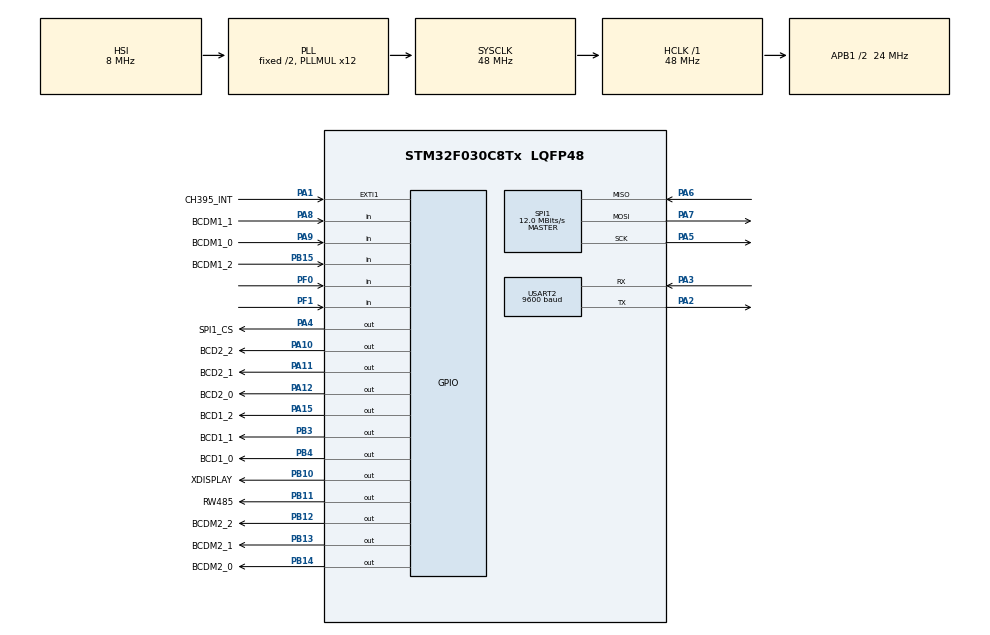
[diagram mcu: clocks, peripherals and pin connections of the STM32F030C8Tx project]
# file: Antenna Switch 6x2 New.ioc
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Dma.Request0=USART2_RX
Dma.Request1=USART2_TX
Dma.USART2_RX.0.Direction=DMA_PERIPH_TO_MEMORY
Dma.USART2_RX.0.Instance=DMA1_Channel5
Dma.USART2_RX.0.MemDataAlignment=DMA_MDATAALIGN_BYTE
Dma.USART2_RX.0.MemInc=DMA_MINC_ENABLE
Dma.USART2_RX.0.Mode=DMA_NORMAL
Dma.USART2_RX.0.PeriphDataAlignment=DMA_PDATAALIGN_BYTE
Dma.USART2_RX.0.PeriphInc=DMA_PINC_DISABLE
Dma.USART2_RX.0.Priority=DMA_PRIORITY_MEDIUM
Dma.USART2_TX.1.Direction=DMA_MEMORY_TO_PERIPH
Dma.USART2_TX.1.Instance=DMA1_Channel4
Dma.USART2_TX.1.MemDataAlignment=DMA_MDATAALIGN_BYTE
Dma.USART2_TX.1.MemInc=DMA_MINC_ENABLE
Dma.USART2_TX.1.Mode=DMA_NORMAL
Dma.USART2_TX.1.PeriphDataAlignment=DMA_PDATAALIGN_BYTE
Dma.USART2_TX.1.PeriphInc=DMA_PINC_DISABLE
Dma.USART2_TX.1.Priority=DMA_PRIORITY_LOW
IWDG.Prescaler=IWDG_PRESCALER_256
IWDG.Reload=2048
IWDG.Window=2048
Mcu.Family=STM32F0
Mcu.Name=STM32F030C8Tx
Mcu.Package=LQFP48
NVIC.DMA1_Channel4_5_IRQn=true\:1\:0\:true\:false\:true\:false\:true\:true
NVIC.SPI1_IRQn=true\:0\:0\:false\:false\:true\:true\:true\:true
NVIC.TIM6_IRQn=true\:0\:0\:false\:false\:true\:true\:true\:true
NVIC.USART2_IRQn=true\:1\:0\:true\:false\:true\:true\:true\:true
PA1.GPIO_Label=CH395_INT
PA1.GPIO_ModeDefaultEXTI=GPIO_MODE_IT_FALLING
PA1.GPIO_PuPd=GPIO_PULLUP
PA1.Signal=GPXTI1
PA10.GPIO_Label=BCD2_2
PA10.GPIO_ModeDefaultOutputPP=GPIO_MODE_OUTPUT_OD
PA10.GPIO_PuPd=GPIO_PULLUP
PA10.PinState=GPIO_PIN_SET
PA10.Signal=GPIO_Output
PA11.GPIO_Label=BCD2_1
PA11.GPIO_ModeDefaultOutputPP=GPIO_MODE_OUTPUT_OD
PA11.GPIO_PuPd=GPIO_PULLUP
PA11.PinState=GPIO_PIN_SET
PA11.Signal=GPIO_Output
PA12.GPIO_Label=BCD2_0
PA12.GPIO_ModeDefaultOutputPP=GPIO_MODE_OUTPUT_OD
PA12.GPIO_PuPd=GPIO_PULLUP
PA12.PinState=GPIO_PIN_SET
PA12.Signal=GPIO_Output
PA13.Mode=Serial_Wire
PA13.Signal=SYS_SWDIO
PA14.Mode=Serial_Wire
PA14.Signal=SYS_SWCLK
PA15.GPIO_Label=BCD1_2
PA15.GPIO_ModeDefaultOutputPP=GPIO_MODE_OUTPUT_OD
PA15.GPIO_PuPd=GPIO_PULLUP
PA15.PinState=GPIO_PIN_SET
PA15.Signal=GPIO_Output
PA2.GPIO_PuPd=GPIO_PULLUP
PA2.Mode=Asynchronous
PA2.Signal=USART2_TX
PA3.GPIO_PuPd=GPIO_PULLUP
PA3.Mode=Asynchronous
PA3.Signal=USART2_RX
PA4.GPIO_Label=SPI1_CS
PA4.GPIO_ModeDefaultOutputPP=GPIO_MODE_OUTPUT_OD
PA4.GPIO_PuPd=GPIO_PULLUP
PA4.PinState=GPIO_PIN_SET
PA4.Signal=GPIO_Output
PA5.GPIO_PuPd=GPIO_PULLUP
PA5.Mode=Full_Duplex_Master
PA5.Signal=SPI1_SCK
PA6.GPIO_PuPd=GPIO_PULLUP
PA6.Mode=Full_Duplex_Master
PA6.Signal=SPI1_MISO
PA7.GPIO_PuPd=GPIO_PULLUP
PA7.Mode=Full_Duplex_Master
PA7.Signal=SPI1_MOSI
PA8.GPIO_Label=BCDM1_1
PA8.GPIO_PuPd=GPIO_PULLUP
PA8.Signal=GPIO_Input
PA9.GPIO_Label=BCDM1_0
PA9.GPIO_PuPd=GPIO_PULLUP
PA9.Signal=GPIO_Input
PB10.GPIO_Label=XDISPLAY
PB10.GPIO_ModeDefaultOutputPP=GPIO_MODE_OUTPUT_OD
PB10.GPIO_PuPd=GPIO_PULLUP
PB10.PinState=GPIO_PIN_SET
PB10.Signal=GPIO_Output
PB11.GPIO_Label=RW485
PB11.GPIO_ModeDefaultOutputPP=GPIO_MODE_OUTPUT_PP
PB11.GPIO_PuPd=GPIO_NOPULL
PB11.PinState=GPIO_PIN_RESET
PB11.Signal=GPIO_Output
PB12.GPIO_Label=BCDM2_2
PB12.GPIO_ModeDefaultOutputPP=GPIO_MODE_OUTPUT_OD
PB12.GPIO_PuPd=GPIO_PULLUP
PB12.PinState=GPIO_PIN_SET
PB12.Signal=GPIO_Output
PB13.GPIO_Label=BCDM2_1
PB13.GPIO_ModeDefaultOutputPP=GPIO_MODE_OUTPUT_OD
PB13.GPIO_PuPd=GPIO_PULLUP
PB13.PinState=GPIO_PIN_SET
PB13.Signal=GPIO_Output
PB14.GPIO_Label=BCDM2_0
PB14.GPIO_ModeDefaultOutputPP=GPIO_MODE_OUTPUT_OD
PB14.GPIO_PuPd=GPIO_PULLUP
PB14.PinState=GPIO_PIN_SET
PB14.Signal=GPIO_Output
PB15.GPIO_Label=BCDM1_2
PB15.GPIO_PuPd=GPIO_PULLUP
PB15.Signal=GPIO_Input
PB3.GPIO_Label=BCD1_1
PB3.GPIO_ModeDefaultOutputPP=GPIO_MODE_OUTPUT_OD
PB3.GPIO_PuPd=GPIO_PULLUP
PB3.PinState=GPIO_PIN_SET
PB3.Signal=GPIO_Output
PB4.GPIO_Label=BCD1_0
PB4.GPIO_ModeDefaultOutputPP=GPIO_MODE_OUTPUT_OD
PB4.GPIO_PuPd=GPIO_PULLUP
PB4.PinState=GPIO_PIN_SET
PB4.Signal=GPIO_Output
PF0-OSC_IN.Signal=GPIO_Input
PF1-OSC_OUT.Signal=GPIO_Input
ProjectManager.HeapSize=0x0
ProjectManager.StackSize=0x400
ProjectManager.TargetToolchain=STM32CubeIDE
RCC.AHBFreq_Value=48000000
RCC.APB1CLKDivider=RCC_HCLK_DIV2
RCC.APB1Freq_Value=24000000
RCC.APB1TimFreq_Value=48000000
RCC.HCLKFreq_Value=48000000
RCC.PLLMUL=RCC_PLL_MUL12
RCC.SYSCLKFreq_VALUE=48000000
RCC.SYSCLKSource=RCC_SYSCLKSOURCE_PLLCLK
RCC.TimSys_Div=SYSTICK_CLKSOURCE_HCLK_DIV8
SPI1.BaudRatePrescaler=SPI_BAUDRATEPRESCALER_2
SPI1.CLKPhase=SPI_PHASE_2EDGE
SPI1.CLKPolarity=SPI_POLARITY_HIGH
SPI1.CalculateBaudRate=12.0 MBits/s
SPI1.DataSize=SPI_DATASIZE_8BIT
SPI1.Direction=SPI_DIRECTION_2LINES
SPI1.Mode=SPI_MODE_MASTER
SPI1.VirtualType=VM_MASTER
TIM6.AutoReloadPreload=TIM_AUTORELOAD_PRELOAD_ENABLE
TIM6.Period=1000
TIM6.Prescaler=16000
USART2.BaudRate=9600
USART2.VirtualMode-Asynchronous=VM_ASYNC
VP_IWDG_VS_IWDG.Mode=IWDG_Activate
VP_TIM6_VS_ClockSourceINT.Mode=Enable_Timer
board=custom

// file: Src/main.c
/* USER CODE BEGIN Header */
/**
 ******************************************************************************
 * @file           : main.c
 * @brief          : Main program body
 ******************************************************************************
 * @attention
 *
 * <h2><center>&copy; Copyright (c) 2019 STMicroelectronics.
 * All rights reserved.</center></h2>
 *
 * This software component is licensed by ST under BSD 3-Clause license,
 * the "License"; You may not use this file except in compliance with the
 * License. You may obtain a copy of the License at:
 *                        opensource.org/licenses/BSD-3-Clause
 *
 ******************************************************************************
 */
/* USER CODE END Header */
#include "main.h"

/* USER CODE BEGIN Includes */
#include <string.h>
#include <stdbool.h>
#include "Config/Config.h"
#include "CH395.h"
#include "Lib485.h"
#include "Delay.h"
#include "Flash_EEPROM/Flash_EEPROM.h"
#include "FS.h"
#include "commands.h"
#include "SerialOverTCP.h"
/* USER CODE END Includes */

/* USER CODE BEGIN PD */
#define MIN(x,y) ((x < y)?(x):(y))
#define RX_FIFO_SIZE_485 512U
static uint8_t rx_fifo_buf_485[RX_FIFO_SIZE_485];
/* USER CODE END PD */

IWDG_HandleTypeDef hiwdg;

SPI_HandleTypeDef hspi1;

TIM_HandleTypeDef htim6;

UART_HandleTypeDef huart2;
DMA_HandleTypeDef hdma_usart2_rx;
DMA_HandleTypeDef hdma_usart2_tx;

/* USER CODE BEGIN PV */
// PINS
const PIN_typedef BCD1_0 =
{ BCD1_0_GPIO_Port, BCD1_0_Pin };
const PIN_typedef BCD1_1 =
{ BCD1_1_GPIO_Port, BCD1_1_Pin };
const PIN_typedef BCD1_2 =
{ BCD1_2_GPIO_Port, BCD1_2_Pin };
const PIN_typedef BCD2_0 =
{ BCD2_0_GPIO_Port, BCD2_0_Pin };
const PIN_typedef BCD2_1 =
{ BCD2_1_GPIO_Port, BCD2_1_Pin };
const PIN_typedef BCD2_2 =
{ BCD2_2_GPIO_Port, BCD2_2_Pin };
const PIN_typedef BCDM1_0 =
{ BCDM1_0_GPIO_Port, BCDM1_0_Pin };
const PIN_typedef BCDM1_1 =
{ BCDM1_1_GPIO_Port, BCDM1_1_Pin };
const PIN_typedef BCDM1_2 =
{ BCDM1_2_GPIO_Port, BCDM1_2_Pin };
const PIN_typedef BCDM2_0 =
{ BCDM2_0_GPIO_Port, BCDM2_0_Pin };
const PIN_typedef BCDM2_1 =
{ BCDM2_1_GPIO_Port, BCDM2_1_Pin };
const PIN_typedef BCDM2_2 =
{ BCDM2_2_GPIO_Port, BCDM2_2_Pin };
const PIN_typedef RW485 =
{ RW485_GPIO_Port, RW485_Pin };

// for remote switching
AntennaSelector_typedef Selector[N_SELECTORS];
// for monitoring
AntennaSelector_typedef SelectorM[N_SELECTORS];
// Saved data on EEPROM

uint8_t IP[4] =
{ 0, 0, 0, 0 };
char sIP_dec[16] =
{ 0 };

uint8_t IP_gateway[4] = {0,0,0,0};
uint8_t IP_mask[4] = {255,255,255,0};
uint8_t MAC[6] = {0,0,0,0,0,0};

// flags
volatile BOOL flag_PHY_reconn = false;
volatile BOOL flag_IP_conflict = false;
volatile BOOL flag_CH395_ready = false;
volatile BOOL flag_CH395_DHCP_ready = false;
const char HTTP_STR_HELLO[] = "Hello\r\n";
// web config
char ant_labels[MAX_LEN_ANT_LABELS] =
{ 0 }; // antenna labels
//extern const uint8_t FS_test_buffer[];
bool isShowingIP = false;
static int8_t idxDisplayIP = -1;
static uint8_t lenDisplayIP = 0;
// broad case updates to all clients when antenna switched
bool needUpdate = false;
// updatedFlag for each socket
uint16_t needUpdateFlagForEachSocket = 0;

/* USER CODE END PV */

void SystemClock_Config(void);
static void MX_GPIO_Init(void);
static void MX_DMA_Init(void);
static void MX_SPI1_Init(void);
static void MX_USART2_UART_Init(void);
static void MX_IWDG_Init(void);
static void MX_TIM6_Init(void);
/* USER CODE BEGIN PFP */
BOOL parse_tcp_uart_command(char *s, size_t len);
/* USER CODE END PFP */

/* USER CODE BEGIN 0 */
const Serial485_cfg_t cfg485 ={
		.pSerial = &huart2,
		.pin_RW = { RW485_GPIO_Port, RW485_Pin },
		.fifo_size = RX_FIFO_SIZE_485,
		.rx_fifo_buf = rx_fifo_buf_485,
};
/* USER CODE END 0 */

int main(void)
{

  /* USER CODE BEGIN 1 */
	uint8_t i;
	Selector[0].PIN_BCDs[0] = BCD1_0;
	Selector[0].PIN_BCDs[1] = BCD1_1;
	Selector[0].PIN_BCDs[2] = BCD1_2;
	Selector[0].sel = 0;
	Selector[1].PIN_BCDs[0] = BCD2_0;
	Selector[1].PIN_BCDs[1] = BCD2_1;
	Selector[1].PIN_BCDs[2] = BCD2_2;
	Selector[1].sel = 0;

	SelectorM[0].PIN_BCDs[0] = BCDM1_0;
	SelectorM[0].PIN_BCDs[1] = BCDM1_1;
	SelectorM[0].PIN_BCDs[2] = BCDM1_2;
	SelectorM[0].sel = 0;
	SelectorM[1].PIN_BCDs[0] = BCDM2_0;
	SelectorM[1].PIN_BCDs[1] = BCDM2_1;
	SelectorM[1].PIN_BCDs[2] = BCDM2_2;
	SelectorM[1].sel = 0;
  /* USER CODE END 1 */

  /* MCU Configuration--------------------------------------------------------*/

  /* Reset of all peripherals, Initializes the Flash interface and the Systick. */
  HAL_Init();

  /* Configure the system clock */
  SystemClock_Config();

  /* Initialize all configured peripherals */
  MX_GPIO_Init();
  MX_DMA_Init();
  MX_SPI1_Init();
  MX_USART2_UART_Init();
  MX_IWDG_Init();
  MX_TIM6_Init();
  /* USER CODE BEGIN 2 */

	// Check EEPROM
	 EEPROM.base_addr = (uint32_t*)EEPROM_BASE_ADDR;
	 EEPROM.size = 400;

	/* init: config */
	load_config(&cfg);
	if (!config_check_valid(&cfg))
	{
		// invalid config data, erase the flash page
		uint32_t PageError = 0;
		__disable_irq();
		HAL_FLASH_Unlock();
		FLASH_EraseInitTypeDef fe = {.TypeErase=FLASH_TYPEERASE_PAGES, .PageAddress=(uint32_t)EEPROM.base_addr, .NbPages=1};
		HAL_FLASHEx_Erase(&fe, &PageError);
		HAL_FLASH_Lock();
		__enable_irq();
		init_config(&cfg);
	}

	/* init: antenna selections */
	uint8_t antnums[N_SELECTORS];
	for (i = 0; i < N_SELECTORS; ++i)
	{
		antnums[i] = cfg.nRadioToAntNums[i];
	}
	switch_Antenna(antnums, N_SELECTORS);

	// init 485
	begin_serial485(p485, &cfg485);
	#ifdef DEBUG
//	  test_485_blockmode(p485);
	#endif
    start_receive_DMA(p485);

	/* init: File System for webpages*/
	FS_begin(&FS, (uint32_t*) FS_BASE_ADDR);
//	i = FS_exists(&FS, "/index.html");
//	i = FS_exists(&FS, "/b.f");

#ifndef DEBUG
	HAL_IWDG_Refresh(&hiwdg); // feed dog
#endif

	/* init: Ethernet chip */
	HAL_Delay(200); // wait for CH395 being ready from power on
	for (i = 5; i < 0xff; ++i)
	{
		if (CH395CMDCheckExist(i) != (uint8_t) ~i)
		{
			DEBUG_LOG("CH395 self check error!\n");
			HAL_Delay(50);
		}
		else
			break;
	}

	RESET_CH395: reset_CH395();
  /* USER CODE END 2 */

  /* Infinite loop */
  /* USER CODE BEGIN WHILE */
	static uint32_t lastWakeupTime;
	static uint32_t lastCH395Process = 0;  // Rate limiting for CH395 interrupts
	// WebSocket frame buffers - moved here for proper scope
	static uint8_t websocket_frame_shared_buffer[128];
	static uint8_t websocket_frame_shared_buffer_2[128];
	lastWakeupTime = HAL_GetTick();
	while (1)
	{

#ifndef DEBUG
		HAL_IWDG_Refresh(&hiwdg); // feed dog
#endif
		/* TASK0: handle CH395 interrupt flags */
		{
			// CASE1: PHY disconnected, need to reconnect, use up the reconn flag to avoid reentrance
			if (flag_PHY_reconn && !flag_CH395_ready)
			{
				flag_PHY_reconn = false;
				goto RESET_CH395;
			}
			/*** polling task: execute command and transmit response to the client in HTTPHandle ***/
			if (flag_CH395_ready && ch395.RX_received)
			{
				// Rate limiting: process CH395 at most every 10ms to avoid starving RS485
				uint32_t nowTick = HAL_GetTick();
				if(nowTick - lastCH395Process >= 10)
				{
					// prepare respond to stocking requests
					HTTPHandle(&ch395);
					lastCH395Process = nowTick;
				}
			}
			/*** polling task: close timed out (long time no received data) connections to avoid deadlock ***/
			uint32_t nowTick = HAL_GetTick();
			for (int i = 0; i < NUM_SOCKETS - 1; ++i) // exculding sock 0
			{
				HTTPRequestParseState *pS = &parseStates[i];
				if ((nowTick - pS->last_active_tick >= MAX_HTTP_TICK_IDLE))
				{
					// timeout, close the connection
					if (pS->connection != CLOSED)
					{
						HTTPclose(i+1);
						resetHTTPParseState(pS);
						CH395TCPDisconnect(i+1); // disconnnect the connection
					}
				}
			}
			/*** polling task: close Websocket connections from which a CLOSE frame and been received  ***/
			for(i = 1; i < NUM_SOCKETS; ++i)
			{
				HTTPRequestParseState *pS = &parseStates[i-1];
				// close the connection if websocket received a CLOSE frame
				// and the response has been transmitted
				if((pS->ws_handshaked == WS_CLOSED) && ((ch395.TX_available & (1 << i)) != 0 ))
				{
					CH395TCPDisconnect(i);
					HTTPclose(i);
					resetHTTPParseState(pS);
				}
			}

			/*** polling task: broadcast updates to the clients proactively ***/
			if(needUpdate || (needUpdateFlagForEachSocket != 0))
			{
				// set all flags for all the sockets
				if(needUpdate)
				{
					for(i = 1; i < NUM_SOCKETS; ++i)
					{
						HTTPRequestParseState *pS = parseStates +i - 1;
						if((ch395.socket_connected & (1U << i)) == 0)
							needUpdateFlagForEachSocket &= ~(1U << i); // clear flag if socket not connected
						else if(
							(pS->connection == UPGRADED_WS)
							||
							(ch395.cfg.protocols[i] == CH395_PROTOCOL_TCP)
						)
							needUpdateFlagForEachSocket |= (1U << i); // set the flag if the protocol is TCP or WebSocket
					}
					needUpdate = false;
				}
				/* try to transmit updates proactively */
				for(i = 1; i < NUM_SOCKETS; ++i)
				{
					if((needUpdateFlagForEachSocket & (1U << i)) == 0)
						continue;
					uint8_t* buf_to_transmit = NULL;
					uint16_t len_to_transmit = 0;
					// transmit only if the CH395 chip is not busy
					if((ch395.TX_available & (1U << i)) != 0)
					{
						HTTPRequestParseState *pS = parseStates +i - 1;
						// make payload
						if(pS->connection == UPGRADED_WS)
						{
							// make content
							int len_content = make_ant_alloc_str((char*)websocket_frame_shared_buffer);
							size_t lenOrig = WSMakeStrOriginal(websocket_frame_shared_buffer_2, sizeof(websocket_frame_shared_buffer_2), "/getalloc", (char*)websocket_frame_shared_buffer);
							len_to_transmit = ws_make_text_frame(websocket_frame_shared_buffer, sizeof(websocket_frame_shared_buffer), websocket_frame_shared_buffer_2, lenOrig);
							buf_to_transmit = (uint8_t*)websocket_frame_shared_buffer;
						}
						else if(ch395.cfg.protocols[i] == CH395_PROTOCOL_TCP)
						{
							// TODO: prepare content for TCP

						}
						// transmit
						if(len_to_transmit)
						{
							CH395StartSendingData(i, len_to_transmit);
							CH395ContinueSendingData(buf_to_transmit, len_to_transmit);
							CH395Complete();
						}
						// update flags
						ch395.TX_available &= ~(1<<i); // invalidate TX flag, will be validated again when TX DONE interrupt
						needUpdateFlagForEachSocket &= ~(1 << i);
					}
				}
			}

			/*** polling task: broadcast socket status to all WebSocket/TCP clients periodically ***/
			{
				static uint32_t lastSocketBroadcastTime = 0;
				uint32_t currentTime = HAL_GetTick();

				// Broadcast socket status every 5000ms (5 seconds)
				if((currentTime - lastSocketBroadcastTime) >= 5000)
				{
					lastSocketBroadcastTime = currentTime;

					// Send to all connected WebSocket and TCP sockets
					for(i = 1; i < NUM_SOCKETS; ++i)
					{
						// Only broadcast if socket is connected and ready for TX
						if((ch395.socket_connected & (1U << i)) && (ch395.TX_available & (1U << i)))
						{
							HTTPRequestParseState *pS = parseStates + i - 1;

							// Only broadcast to WebSocket and TCP connections
							if((pS->connection == UPGRADED_WS) || (ch395.cfg.protocols[i] == CH395_PROTOCOL_TCP))
							{
								// Create socket status string
								int len_content = make_socket_status_str((char*)websocket_frame_shared_buffer);

								if(pS->connection == UPGRADED_WS)
								{
									// For WebSocket: wrap in WebSocket frame
									size_t lenOrig = WSMakeStrOriginal(websocket_frame_shared_buffer_2, sizeof(websocket_frame_shared_buffer_2), "/socket", (char*)websocket_frame_shared_buffer);
									uint16_t len_to_transmit = ws_make_text_frame(websocket_frame_shared_buffer, sizeof(websocket_frame_shared_buffer), websocket_frame_shared_buffer_2, lenOrig);

									// Transmit WebSocket frame
									CH395StartSendingData(i, len_to_transmit);
									CH395ContinueSendingData(websocket_frame_shared_buffer, len_to_transmit);
									CH395Complete();
								}
								else // TCP
								{
									// For TCP: send raw data with URI prefix
									size_t lenOrig = WSMakeStrOriginal(websocket_frame_shared_buffer_2, sizeof(websocket_frame_shared_buffer_2), "/socket", (char*)websocket_frame_shared_buffer);

									// Transmit TCP data
									CH395StartSendingData(i, lenOrig);
									CH395ContinueSendingData(websocket_frame_shared_buffer_2, lenOrig);
									CH395Complete();
								}

								// Update TX flag
								ch395.TX_available &= ~(1 << i);
							}
						}
					}
				}
			}

			/*** polling task: monitoring the interrupt Pin and trigger the interrupt ***/
			// Rate limiting: don't process interrupts too frequently
			if(HAL_GPIO_ReadPin(CH395_INT_GPIO_Port, CH395_INT_Pin) == GPIO_PIN_RESET)
			{
				/* parse incoming packet, extract arguments and URI */
				interrupt_CH395();
			}
		}

		// TASK0.5: handle 485
		// parse received content
		{
			static uint8_t cmd_buf_485[LIB485_COMM_BUFFER_SIZE];
			int sizeCmd = read_command_from_serial485(p485, cmd_buf_485, sizeof(cmd_buf_485));
			if ((sizeCmd > 0) && (execute_command_string(&CommandParser, cmd_buf_485, sizeCmd) >= 0))
			{
				// if the command has response to the client, the send
				// hasResponse stores the length of the response content
				if (CommandParser.hasResponse > 0)
				{
					send_serial485(p485,  CommandParser.bufRet, CommandParser.hasResponse);
				}
			}
		}
		// TASK1: handle EEPROM save
		uint32_t nowTick = HAL_GetTick();
		{
			// save each 5 seconds
			if (nowTick - lastWakeupTime >= 3000)
			{
				if (isModified)
				{
					save_config(&cfg);
					isModified = false;
					lastWakeupTime = nowTick;
				}
			}
		}

		/* TASK2: check if CPLD sends IP request */
		{
			// when SelectorM1&2 all pins are activated(LOW), means requesting IP display
			bool activated = true;
			for (uint8_t iSel = 0; iSel < N_SELECTORS; ++iSel)
			{

				for (uint8_t iBCD = 0; iBCD < N_BCD_PINS; ++iBCD)
				{
					uint8_t d = HAL_GPIO_ReadPin(
							SelectorM[iSel].PIN_BCDs[iBCD].group,
							SelectorM[iSel].PIN_BCDs[iBCD].pin);
					if (d != GPIO_PIN_RESET)
					{
						activated = false;
						break;
					}
				}
				if (!activated)
					break;
			}
			if (idxDisplayIP < 0 && activated)
				display_IP(true);
			else if (idxDisplayIP >= 0 && !activated)
				display_IP(false);
		}
    /* USER CODE END WHILE */

	}
}

void SystemClock_Config(void)
{
  RCC_OscInitTypeDef RCC_OscInitStruct = {0};
  RCC_ClkInitTypeDef RCC_ClkInitStruct = {0};

  /** Initializes the RCC Oscillators according to the specified parameters
  * in the RCC_OscInitTypeDef structure.
  */
  RCC_OscInitStruct.OscillatorType = RCC_OSCILLATORTYPE_HSI|RCC_OSCILLATORTYPE_LSI;
  RCC_OscInitStruct.HSIState = RCC_HSI_ON;
  RCC_OscInitStruct.HSICalibrationValue = RCC_HSICALIBRATION_DEFAULT;
  RCC_OscInitStruct.LSIState = RCC_LSI_ON;
  RCC_OscInitStruct.PLL.PLLState = RCC_PLL_ON;
  RCC_OscInitStruct.PLL.PLLSource = RCC_PLLSOURCE_HSI;
  RCC_OscInitStruct.PLL.PLLMUL = RCC_PLL_MUL12;
  RCC_OscInitStruct.PLL.PREDIV = RCC_PREDIV_DIV1;
  if (HAL_RCC_OscConfig(&RCC_OscInitStruct) != HAL_OK)
  {
    Error_Handler();
  }

  /** Initializes the CPU, AHB and APB buses clocks
  */
  RCC_ClkInitStruct.ClockType = RCC_CLOCKTYPE_HCLK|RCC_CLOCKTYPE_SYSCLK
                              |RCC_CLOCKTYPE_PCLK1;
  RCC_ClkInitStruct.SYSCLKSource = RCC_SYSCLKSOURCE_PLLCLK;
  RCC_ClkInitStruct.AHBCLKDivider = RCC_SYSCLK_DIV1;
  RCC_ClkInitStruct.APB1CLKDivider = RCC_HCLK_DIV2;

  if (HAL_RCC_ClockConfig(&RCC_ClkInitStruct, FLASH_LATENCY_1) != HAL_OK)
  {
    Error_Handler();
  }

  /** Configure the Systick
  */
  HAL_SYSTICK_Config(6000);
  HAL_SYSTICK_CLKSourceConfig(SYSTICK_CLKSOURCE_HCLK_DIV8);
}

static void MX_IWDG_Init(void)
{

  /* USER CODE BEGIN IWDG_Init 0 */
#ifndef DEBUG
  /* USER CODE END IWDG_Init 0 */

  hiwdg.Instance = IWDG;
  hiwdg.Init.Prescaler = IWDG_PRESCALER_256;
  hiwdg.Init.Window = 2048;
  hiwdg.Init.Reload = 2048;
  if (HAL_IWDG_Init(&hiwdg) != HAL_OK)
  {
    Error_Handler();
  }
  /* USER CODE BEGIN IWDG_Init 2 */
#endif
  /* USER CODE END IWDG_Init 2 */

}

static void MX_SPI1_Init(void)
{

  /* SPI1 parameter configuration*/
  hspi1.Instance = SPI1;
  hspi1.Init.Mode = SPI_MODE_MASTER;
  hspi1.Init.Direction = SPI_DIRECTION_2LINES;
  hspi1.Init.DataSize = SPI_DATASIZE_8BIT;
  hspi1.Init.CLKPolarity = SPI_POLARITY_HIGH;
  hspi1.Init.CLKPhase = SPI_PHASE_2EDGE;
  hspi1.Init.NSS = SPI_NSS_SOFT;
  hspi1.Init.BaudRatePrescaler = SPI_BAUDRATEPRESCALER_2;
  hspi1.Init.FirstBit = SPI_FIRSTBIT_MSB;
  hspi1.Init.TIMode = SPI_TIMODE_DISABLE;
  hspi1.Init.CRCCalculation = SPI_CRCCALCULATION_DISABLE;
  hspi1.Init.CRCPolynomial = 7;
  hspi1.Init.CRCLength = SPI_CRC_LENGTH_DATASIZE;
  hspi1.Init.NSSPMode = SPI_NSS_PULSE_DISABLE;
  if (HAL_SPI_Init(&hspi1) != HAL_OK)
  {
    Error_Handler();
  }

}

static void MX_TIM6_Init(void)
{

  htim6.Instance = TIM6;
  htim6.Init.Prescaler = 16000;
  htim6.Init.CounterMode = TIM_COUNTERMODE_UP;
  htim6.Init.Period = 1000;
  htim6.Init.AutoReloadPreload = TIM_AUTORELOAD_PRELOAD_ENABLE;
  if (HAL_TIM_Base_Init(&htim6) != HAL_OK)
  {
    Error_Handler();
  }

}

static void MX_USART2_UART_Init(void)
{

  huart2.Instance = USART2;
  huart2.Init.BaudRate = 9600;
  huart2.Init.WordLength = UART_WORDLENGTH_8B;
  huart2.Init.StopBits = UART_STOPBITS_1;
  huart2.Init.Parity = UART_PARITY_NONE;
  huart2.Init.Mode = UART_MODE_TX_RX;
  huart2.Init.HwFlowCtl = UART_HWCONTROL_NONE;
  huart2.Init.OverSampling = UART_OVERSAMPLING_16;
  huart2.Init.OneBitSampling = UART_ONE_BIT_SAMPLE_DISABLE;
  huart2.AdvancedInit.AdvFeatureInit = UART_ADVFEATURE_NO_INIT;
  if (HAL_UART_Init(&huart2) != HAL_OK)
  {
    Error_Handler();
  }

}

static void MX_DMA_Init(void)
{

  /* DMA controller clock enable */
  __HAL_RCC_DMA1_CLK_ENABLE();

  /* DMA interrupt init */
  /* DMA1_Channel4_5_IRQn interrupt configuration */
  HAL_NVIC_SetPriority(DMA1_Channel4_5_IRQn, 1, 0);
  HAL_NVIC_EnableIRQ(DMA1_Channel4_5_IRQn);

}

static void MX_GPIO_Init(void)
{
  GPIO_InitTypeDef GPIO_InitStruct = {0};

  /* GPIO Ports Clock Enable */
  __HAL_RCC_GPIOF_CLK_ENABLE();
  __HAL_RCC_GPIOA_CLK_ENABLE();
  __HAL_RCC_GPIOB_CLK_ENABLE();

  /*Configure GPIO pin Output Level */
  HAL_GPIO_WritePin(GPIOA, SPI1_CS_Pin|BCD2_2_Pin|BCD2_1_Pin|BCD2_0_Pin
                          |BCD1_2_Pin, GPIO_PIN_SET);

  /*Configure GPIO pin Output Level */
  HAL_GPIO_WritePin(GPIOB, XDISPLAY_Pin|BCDM2_2_Pin|BCDM2_1_Pin|BCDM2_0_Pin
                          |BCD1_1_Pin|BCD1_0_Pin, GPIO_PIN_SET);

  /*Configure GPIO pin Output Level */
  HAL_GPIO_WritePin(RW485_GPIO_Port, RW485_Pin, GPIO_PIN_RESET);

  /*Configure GPIO pins : PF0 PF1 */
  GPIO_InitStruct.Pin = GPIO_PIN_0|GPIO_PIN_1;
  GPIO_InitStruct.Mode = GPIO_MODE_INPUT;
  GPIO_InitStruct.Pull = GPIO_NOPULL;
  HAL_GPIO_Init(GPIOF, &GPIO_InitStruct);

  /*Configure GPIO pin : CH395_INT_Pin */
  GPIO_InitStruct.Pin = CH395_INT_Pin;
  GPIO_InitStruct.Mode = GPIO_MODE_IT_FALLING;
  GPIO_InitStruct.Pull = GPIO_PULLUP;
  HAL_GPIO_Init(CH395_INT_GPIO_Port, &GPIO_InitStruct);

  /*Configure GPIO pins : SPI1_CS_Pin BCD2_2_Pin BCD2_1_Pin BCD2_0_Pin
                           BCD1_2_Pin */
  GPIO_InitStruct.Pin = SPI1_CS_Pin|BCD2_2_Pin|BCD2_1_Pin|BCD2_0_Pin
                          |BCD1_2_Pin;
  GPIO_InitStruct.Mode = GPIO_MODE_OUTPUT_OD;
  GPIO_InitStruct.Pull = GPIO_PULLUP;
  GPIO_InitStruct.Speed = GPIO_SPEED_FREQ_LOW;
  HAL_GPIO_Init(GPIOA, &GPIO_InitStruct);

  /*Configure GPIO pins : XDISPLAY_Pin BCDM2_2_Pin BCDM2_1_Pin BCDM2_0_Pin
                           BCD1_1_Pin BCD1_0_Pin */
  GPIO_InitStruct.Pin = XDISPLAY_Pin|BCDM2_2_Pin|BCDM2_1_Pin|BCDM2_0_Pin
                          |BCD1_1_Pin|BCD1_0_Pin;
  GPIO_InitStruct.Mode = GPIO_MODE_OUTPUT_OD;
  GPIO_InitStruct.Pull = GPIO_PULLUP;
  GPIO_InitStruct.Speed = GPIO_SPEED_FREQ_LOW;
  HAL_GPIO_Init(GPIOB, &GPIO_InitStruct);

  /*Configure GPIO pin : RW485_Pin */
  GPIO_InitStruct.Pin = RW485_Pin;
  GPIO_InitStruct.Mode = GPIO_MODE_OUTPUT_PP;
  GPIO_InitStruct.Pull = GPIO_NOPULL;
  GPIO_InitStruct.Speed = GPIO_SPEED_FREQ_LOW;
  HAL_GPIO_Init(RW485_GPIO_Port, &GPIO_InitStruct);

  /*Configure GPIO pin : BCDM1_2_Pin */
  GPIO_InitStruct.Pin = BCDM1_2_Pin;
  GPIO_InitStruct.Mode = GPIO_MODE_INPUT;
  GPIO_InitStruct.Pull = GPIO_PULLUP;
  HAL_GPIO_Init(BCDM1_2_GPIO_Port, &GPIO_InitStruct);

  /*Configure GPIO pins : BCDM1_1_Pin BCDM1_0_Pin */
  GPIO_InitStruct.Pin = BCDM1_1_Pin|BCDM1_0_Pin;
  GPIO_InitStruct.Mode = GPIO_MODE_INPUT;
  GPIO_InitStruct.Pull = GPIO_PULLUP;
  HAL_GPIO_Init(GPIOA, &GPIO_InitStruct);

}

/* USER CODE BEGIN 4 */
//void HAL_UART_RxCpltCallback(UART_HandleTypeDef *huart)
//{
//	onReceived_serial485(p485);
//}
void reset_CH395()
{
	uint8_t i ;
	flag_CH395_ready = false;
	ch395.RX_received = 0;
	ch395.SOCK_responding = -1;
	ch395.TX_available = 0xff;
	ch395.socket_connected = 0;

	// setting HTTP sockets, 0, 1,2,3,4,5,6
	for ( i = 0; i < CH395_UDP_LISTEN_SOCK; i++)
	{
		ch395.cfg.protocols[i] = CH395_PROTOCOL_HTTP;
		ch395.cfg.ports[i] = cfg.portHTTP;
	}
	// setting primitive TCP sockets, 5,6
//	for ( i = CH395_TCP_LISTEN_SOCK; i < 7; i++)
//	{
//		ch395.cfg.protocols[i] = CH395_PROTOCOL_TCP;
//		ch395.cfg.ports[i] = cfg.portTCP;
//	}
	// setting primitive UDP socket 7
	i = CH395_UDP_LISTEN_SOCK;
	ch395.cfg.protocols[i] = CH395_PROTOCOL_UDP;
	ch395.cfg.ports[i] = cfg.portUDP;
	CH395CMDReset();
//	Delay_ms(100); // wait for CH395 being ready from power on
	HAL_Delay(100);
	// get CH395 chip MAC address
	CH395CMDGetMACAddr(MAC);
	// initialize CH395 GPIO settings to INPUT/PULL DOWN
//	CH395WriteGPIOAddr(GPIO_DIR_REG, 0);
//	CH395WriteGPIOAddr(GPIO_PU_REG, 0);
//	CH395WriteGPIOAddr(GPIO_PD_REG, 0xff);
	CH395SetBuffer();
	// initialize TCP server
	flag_CH395_ready = CH395TCPServerStart(*(uint32_t*) IP, cfg.portHTTP, cfg.portTCP);
	//CH395SetBuffer();
	flag_PHY_reconn = false;
	flag_IP_conflict = false;
	flag_CH395_DHCP_ready = false;
}

/*************************************************************
 * ************************************************************
 * Very Important: The main funcion for Ethernet activities
 * ************************************************************
 * */
void interrupt_CH395()
{
	char* line, *tok_arg, *line_tok_saveptr, *arg_tok_saveptr;
	// process interrupt requests from CH395
	uint8_t sock_int_status, i;
	uint16_t glob_int_status;
	//BEGIN_INT_CH395:
	// read global int status
	glob_int_status = CH395CMDGetGlobIntStatus_ALL();

	// CASE: TCP unreach error
	if (glob_int_status & GINT_STAT_UNREACH)
	{
		uint8_t unreach[8];
		CH395CMDGetUnreachIPPT(unreach);
		// invalidate all Parsers
		// unreach byte 3, byte 2 combine to be port number
		uint16_t port = ((uint16_t)unreach[3] << 8) | unreach[2];
		for(uint8_t i = 1; i < NUM_SOCKETS; ++i)
		{
			HTTPRequestParseState *pS = parseStates + i - 1;
			if(pS->port == port) resetHTTPParseState(pS);
		}
	}

	// CASE: DHCP
	if (glob_int_status & GINT_STAT_DHCP)
	{
		if(CH395GetDHCPStatus() == 0)
		{
			flag_CH395_DHCP_ready = true;
			// get IP info from CH395
			uint8_t IPv4_Gateway_info[20];
			if(flag_CH395_DHCP_ready)
			{
				CH395GetIPInf(IPv4_Gateway_info); // BIG endian
				memcpy(IP, IPv4_Gateway_info, 4); // in CH395, the byte order of IPs and MACs are reversed (IP and MAC are Big-endian, others are little-endian)
				memcpy(IP_gateway, IPv4_Gateway_info + 4, 4); //
				memcpy(IP_mask, IPv4_Gateway_info + 8, 4); //
			}
		}
		else
		{
			flag_CH395_DHCP_ready = false;
		}
	}
	// CASE: Phy change
	if (glob_int_status & GINT_STAT_PHY_CHANGE)
	{
		uint8_t phy_status = (CH395CMDGetPHYStatus());
		switch (phy_status)
		{
		case PHY_DISCONN:
			flag_CH395_ready = false;
			flag_PHY_reconn = true;
			break;
		default:
			flag_CH395_ready = true;
			flag_PHY_reconn = false;
			break;
		}
	}

	// get socket interrupt status
	glob_int_status >>= 4;
	// exit if no socket event occured
	if (!glob_int_status)
		goto END_INT_CH395;
	// handle SOCKET events
	for (i = 1; (i < NUM_SOCKETS) && (glob_int_status > 0); ++i)
	{
		glob_int_status >>= 1;
		if (glob_int_status & 1) // the LSB of glob_int_status indicates SOCK#i interrupt status
		{
			sock_int_status = CH395GetSocketInt(i);
			// CASE 1: Send buffer free
			if (sock_int_status & SINT_STAT_SENBUF_FREE)
			{
				ch395.TX_available |= (1 << i);
			}
			// CASE 2: data received on SOCK i
			if (sock_int_status & SINT_STAT_RECV)
			{
				/*
				 * This section of code reads at most CH395_SIZE_BUFFER-1 bytes from PHY buffer
				 * and discards the rest of the received data
				 */
				flag_CH395_ready = true; // force the chip to be active if anything is received
				HTTPRequestParseState *pS = parseStates + i - 1;
				activateHTTPParseState(pS); // renew the timeout counter when data received
				// get length of received data
				uint16_t len = CH395GetRecvLength(i);
				// WARNING: avoid multiple access to the CH395 buffer, not thread safe
				CH395GetRecvData(
						i,
						(len < CH395_SIZE_BUFFER - 1) ? (len) : (len = CH395_SIZE_BUFFER - 1),
						(uint8_t*) ch395.buffer
							);
				ch395.buffer[len] = 0; // terminate the recved text stream
				/* Distinguish between different protocols
				 * Either HTTP,
				 * or TCP (for UART over IP gateway )
				 */
 				switch (ch395.cfg.protocols[i])
				{
				/* extract arguments and URI from the incoming packet */
				/* in the meantime, WS for realtime data exchange which is upgraded from HTTP */
				case CH395_PROTOCOL_HTTP:
					if(pS->connection == CLOSED)
						resetHTTPParseState(pS);
					else // for long connections, preserve some necessary information from previous requests, especially for connection type
						resetHTTPParseState_for_long_connection(pS);
					pS->sock_index = i;
					/* classify request types: */
#define REQUEST_TYPE_HTTP 0
#define REQUEST_TYPE_TCP 1
					uint8_t sReqType = REQUEST_TYPE_HTTP;
					if(strnstr(ch395.buffer, "HTTP", len))
					{
						sReqType = REQUEST_TYPE_HTTP;
					}
					else if(len > 0)
					{
						sReqType = REQUEST_TYPE_TCP;
					}

					/* CASE 1: Websocket or Plain TCP */
					if(((pS->connection == UPGRADED_WS) && (pS->ws_handshaked == WS_HANDSHAKED)) || (sReqType == REQUEST_TYPE_TCP))
					{
						// can be parsed as WebSocket protocol
						if(ws_parse_frame(ch395.buffer, (size_t)len, &pS->ws) > 0)
						{
							// sometimes the client skips the upgrade request, sending a WebSocket payload directly
							if((pS->connection != UPGRADED_WS) || (pS->ws_handshaked != WS_HANDSHAKED))
							{
								pS->connection = UPGRADED_WS;
								pS->ws_handshaked = WS_HANDSHAKED;
							}
							pS->ready_for_making_response = true;
							switch(pS->ws.opcode)
							{
							case WS_OPCODE_TEXT:
								/* parse TEXT, but Too Long Don't Read, execute command later
								 * example:
								 * uri=/switch&sel1=4&sel2=5
								 * example:
								 * uri=/getalloc
								 * response:
								 * sel1=1&sel2=3
								 * */
								if(pS->ws.payload_len < MAX_LEN_RESPONSE_HEADER - 1)
								{
									// copy payload to the shared buffer, so futher processes will be easier
									memcpy(pS->response_header, pS->ws.payload, pS->ws.payload_len);
									pS->response_header[pS->ws.payload_len] = 0; // terminate the payload
									// unmask the payload
									ws_unmask_payload(pS->response_header, (size_t)(pS->ws.payload_len), pS->ws.masking_key);
									// SPECIAL CASE: if the content is "ping"
									if(strnstr(pS->response_header, "ping",  pS->ws.payload_len))
									{
										// respond with "pong"
										WSSendStr(pS, NULL, "pong");
									}
									else
									{
										// tokenize arguments
										// URI=&arg0=&arg1=\r\n
										line_tok_saveptr = pS->response_header;
										line = strsepstr(&line_tok_saveptr, "\r\n");
										if(line)
										{
											tok_arg = strtok_r(line, "&", &arg_tok_saveptr);
											while(tok_arg)
											{
												DEBUG_LOG("Arg: %s\r\n", tok_arg);
												// save URI argument in a special variable
												if(strncmp(tok_arg, "URI", 3) == 0)
													strncpy(pS->URI, tok_arg + 4, MAX_LEN_URI); // copy content after =
												// save other argument in argv
												else
													pS->argv[pS->argc++] = tok_arg; // tok_arg: "arg=xxx\0"
												tok_arg = strtok_r(NULL, "&", &arg_tok_saveptr);
											}
										}
									}
								}
								break;
							case WS_OPCODE_PING:
								// send PONG frame
								pS->len_response_header = ws_make_pong_frame((uint8_t*)pS->response_header);
								pS->len_response_content_remain = 0;
								pS->response_stage = RESPONSE_PREPARED;
								break;
							case WS_OPCODE_CLOSE:
								// respond the  close frame
								pS->len_response_header =  ws_make_close_frame((uint8_t*)pS->response_header, WS_CLOSE_REASON_BY_PEER);
								pS->len_response_content_remain = 0;
								pS->response_stage = RESPONSE_PREPARED;
								pS->ws_handshaked = WS_TO_CLOSE; // mark close here, will be closed in main loop after responded
								break;
							}
							// put this socket into responding slot if the slot is empty
							if(pS->ready_for_making_response)
							{
								ch395.RX_received |= (1 << i);
								if (ch395.SOCK_responding < 0)
									ch395.SOCK_responding = i;
							}
						}
						/* CASE: plain TCP */
						else
						{
							// parse received content
							if (execute_command_string(&CommandParser, ch395.buffer,len) >= 0)
							{
								// if the command has response to the client, the send
								// hasResponse stores the length of the response content
								if (CommandParser.hasResponse > 0)
								{
									pS->ready_for_making_response = true;
									strncpy(pS->response_header, CommandParser.bufRet,
											CommandParser.hasResponse);
									pS->len_response_header = CommandParser.hasResponse;
									pS->len_response_content_remain = 0;
									pS->response_stage = RESPONSE_PREPARED;
									ch395.RX_received |= (1 << i);
									if (ch395.SOCK_responding < 0) // put this socket into responding slot if the slot is empty
										ch395.SOCK_responding = i;
									CommandParser.hasResponse = 0;
								}
							}
						}
					}
					/* CASE DEFAULT: plain HTTP */
					else
					{
						if (parse_http(pS, ch395.buffer))
						{
							ch395.RX_received |= (1 << i); // mark received flag
							if (ch395.SOCK_responding < 0) // put this socket into responding slot if the slot is empty
								ch395.SOCK_responding = i;
						}
						/* USER CODE BEGIN HTTP_PARSE_FAILED */
						else
						{
							// HTTP parsing failed, close the connection to prevent resource leak
							CH395TCPDisconnect(i);
							HTTPclose(i);
							resetHTTPParseState(pS);
						}
						/* USER CODE END HTTP_PARSE_FAILED */
					}
					break;
				case CH395_PROTOCOL_TCP:
					// parse as virtual UART
					if(pS->connection == CLOSED)
						resetHTTPParseState(pS);
					else // for long connections, keep some necessary information from previous requests
						resetHTTPParseState_for_long_connection(pS);
					pS->sock_index = i;
					// parse received content
					if (execute_command_string(&CommandParser, ch395.buffer,len) >= 0)
					{
						// if the command has response to the client, the send
						// hasResponse stores the length of the response content
						if (CommandParser.hasResponse > 0)
						{
							pS->ready_for_making_response = true;
							strncpy(pS->response_header, CommandParser.bufRet,
									CommandParser.hasResponse);
							pS->len_response_header = CommandParser.hasResponse;
							pS->len_response_content_remain = 0;
							pS->response_stage = RESPONSE_PREPARED;
							ch395.RX_received |= (1 << i);
							if (ch395.SOCK_responding < 0) // put this socket into responding slot if the slot is empty
								ch395.SOCK_responding = i;
							CommandParser.hasResponse = 0;
						}
					}
					break;
				/* UDP for virtual COM port detecting protocol */
				case CH395_PROTOCOL_UDP:
					resetHTTPParseState(pS);
					pS->sock_index = i;
					// parse as detection message over UDP
					// UDP data has first 8 bytes as misc information
					if(len > 8)
					{
						uint16_t len_UDP_data = 0;
						uint16_t port_dest_UDP;
						uint8_t IP_dst_UDP[4];
						len_UDP_data = (uint16_t)(ch395.buffer[1] << 8) | (uint16_t)ch395.buffer[0]; // little-endian
						port_dest_UDP = (uint16_t)(ch395.buffer[3] << 8) | (uint16_t)ch395.buffer[2];
						memcpy(IP_dst_UDP, ch395.buffer+4, 4);
						if((len_UDP_data - 8 >= LEN_USR_DETECTION_MSG) &&
								strncmp(ch395.buffer + 8, USR_DETECTION_MSG, LEN_USR_DETECTION_MSG) == 0)
						{
							pS->ready_for_making_response = true;
							USR_response_t USR = {
									.IPv4_gateway = IP_gateway,
									.IPv4_mask = IP_mask,
									.IPv4_self = IP,
									.IPv4_target = IP_gateway,
									.MAC = MAC,
									.baud = 115200,
									.mode = 3, // TCP server
									.port_self = cfg.portHTTP,
									.port_target = cfg.portHTTP,
									.stopbit_mode = 3,
							};
							len_UDP_data = (uint16_t)prepare_USR_response_msg(&USR, pS->response_header);
							pS->len_response_header = len_UDP_data;
							pS->len_response_content_remain = 0;
							pS->response_stage = RESPONSE_PREPARED;
							ch395.socket_connected |= (1<<i); // UDP has no connection state, so mark it as always connected
							ch395.TX_available |= (1 << i);
							ch395.RX_received |= (1 << i);
							if (ch395.SOCK_responding < 0) // put this socket into responding slot if the slot is empty
								ch395.SOCK_responding = i;
							CH395SetSocketDesIP(i, IP_dst_UDP);
							CH395SetSocketDesPort(i, port_dest_UDP);
						}
					}
					break;
				default:
					// protocol not assigned to the socket
					break;
				}
				CH395ClearRecvBuf(i);
			}
			// CASE 3: SOCK i connected
			if (sock_int_status & SINT_STAT_CONNECT)
			{
				ch395.socket_connected |= (1 << i);
				ch395.TX_available |= (1 << i);
			}
			// CASE 4: SOCK i disconnected
			if (sock_int_status & SINT_STAT_DISCONNECT) // SOCK i disconnected
			{
				ch395.socket_connected &= ~(1 << i);
				ch395.RX_received &= ~(1 << i);
				ch395.TX_available |= (1 << i);
				if (ch395.SOCK_responding == i)
					ch395.SOCK_responding = -1; // release the responding socket flag
				HTTPRequestParseState *pS = parseStates + i - 1;
				resetHTTPParseState(pS);
			}
		}
	}
END_INT_CH395:
	return;
}

static bool check_conflict(uint8_t *antnums, uint8_t n)
{
	bool conflict = false;
	uint32_t detector = 0;
	for(uint8_t i= 0; i < n; ++i)
	{
		uint8_t sel = antnums[i];
		// replace 0xff by current selected antnum,
		if(sel == 0xff)
			sel = Selector[i].sel;

		uint32_t mask = 1U << sel; // cannot exceed 31
		// already set to 1, means conflict
		if((detector & mask) != 0U)
		{
			conflict =true;
			break;
		}
		detector |= mask;
	}
	return conflict;
}

// @params:
// @antnums: array of selecte ant numbers. NULL: For display IP: When set to NULL, write output pins only and leave all state variables unchanged.
int8_t switch_Antenna(uint8_t *antnums, uint8_t n)
{
	int8_t r = 0;
	// when antnums is NULL, just keep the state of each selector and update output pins
	uint8_t i;

	// check conflict
	if(check_conflict(antnums, n))
	{
		r = -1; // conflict
		goto EXIT_SWITCH_ANTENNA;
	}

	uint8_t vNew;
	for (i = 0; i < MIN(n, N_SELECTORS); ++i)
	{
		// parse input
		if(antnums != NULL)
		{
			vNew = antnums[i];
;
		}
		// WARNING: IP address display function multiplex with selector GPIOs,
		// resume previous results before displaying IP
		else
		{
			vNew = Selector[i].sel;
		}

		if(vNew != 0xff) // 0xff means do not change
		{
			// write pins
			Selector[i].sel = vNew;
			uint8_t val = ~Selector[i].sel;
			for (uint8_t iBCD = 0; iBCD < N_BCD_PINS; ++iBCD)
			{
				PIN_typedef pin = Selector[i].PIN_BCDs[iBCD];
				HAL_GPIO_WritePin(pin.group, pin.pin, (val >> iBCD) & 0x01);
			}

			// store configurations
			if(antnums)
			{
				cfg.nRadioToAntNums[i] = Selector[i].sel;
				isModified = true;
				needUpdate = true;
			}
		}

	}
EXIT_SWITCH_ANTENNA:
	return r;
}

void get_Antenna_real_BCDs(uint8_t *antnums, uint8_t n) //3-0:SEL1[2:0] 7-4:SEL2[2:0] GPIOs are Low Effective
{
	for (uint8_t i = 0; i < MIN(n, N_SELECTORS); ++i)
	{
		uint8_t res = 0;
#ifdef BCDM_ON_CH395
		d = CH395ReadGPIOAddr(GPIO_IN_REG); // read CH395 GPIO
		res |= (d >> BCDM1_0) & 1;// bit 0: BCDM1_0
		res |= ((d >> BCDM1_1) & 1) << 1;// bit 1: BCDM1_1
		res |= ((d >> BCDM1_2) & 1) << 2;// bit 2: BCDM1_2
		res |= ((d >> BCDM2_0) & 1) << 4;// bit 0: BCDM2_0
		res |= ((d >> BCDM2_1) & 1) << 5;// bit 1: BCDM1_1
		res |= ((d >> BCDM2_2) & 1) << 6;// bit 2: BCDM1_1
#else
		for (uint8_t iBCD = 0; iBCD < N_BCD_PINS; ++iBCD)
		{
			res |= (((!HAL_GPIO_ReadPin(SelectorM[i].PIN_BCDs[iBCD].group,
					SelectorM[i].PIN_BCDs[iBCD].pin)) & 0x01) << iBCD); // BCDM1[0]
		}
#endif
		antnums[i] = res;
	}

}

/* Display IP functions BEGIN */

// USE BCD1_0, BCD1_1, BCD1_2, BCD2_0 for transferring "0~9" and "-" digits
void display_IP(bool start)
{
	if (start) // start == true, start the timer
	{
		idxDisplayIP = 0;

		//  HAL_GPIO_WritePin(XDISPLAY_GPIO_Port, XDISPLAY_Pin, 0);
		// turn off display
		uint8_t d = ~(0x0e);
		HAL_GPIO_WritePin(Selector[0].PIN_BCDs[0].group,
				Selector[0].PIN_BCDs[0].pin, d & 0x01);
		HAL_GPIO_WritePin(Selector[0].PIN_BCDs[1].group,
				Selector[0].PIN_BCDs[1].pin, (d >> 1) & 0x01);
		HAL_GPIO_WritePin(Selector[0].PIN_BCDs[2].group,
				Selector[0].PIN_BCDs[2].pin, (d >> 2) & 0x01);
		HAL_GPIO_WritePin(Selector[1].PIN_BCDs[0].group,
				Selector[1].PIN_BCDs[0].pin, (d >> 3) & 0x01);

		// transform IP to string, and get the length of the string
		lenDisplayIP = IPv4_to_s(sIP_dec ,IP);
		// start the timer
		HAL_TIM_Base_Start_IT(&htim6);
	}
	else // start == false, stop the timer
	{
		HAL_TIM_Base_Stop_IT(&htim6);
		idxDisplayIP = -1;
		// resume GPIO outputs
		switch_Antenna(NULL, N_SELECTORS);
	}
}

void HAL_TIM_PeriodElapsedCallback(TIM_HandleTypeDef *htim)
{
	/* display IP address */
	if (htim == &htim6)
	{
		uint8_t d;

		// termination conditon
		if(idxDisplayIP < 0)
		{
			HAL_TIM_Base_Stop_IT(htim);
			return;
		}

		// display
		if (idxDisplayIP < lenDisplayIP)
		{
			char s = sIP_dec[idxDisplayIP];
			if (s >= '0' && s <= '9')
			{
				d = (s - '0');
				d = ~d;

			}
			else if(s == '.') // display "-" instead of '.', activate all 4 pins
			{
				d = ~(0x0f);
			}
			else
			{
				d = ~(0x0e); // no display
			}
			HAL_GPIO_WritePin(Selector[0].PIN_BCDs[0].group,
					Selector[0].PIN_BCDs[0].pin, d & 0x01);
			HAL_GPIO_WritePin(Selector[0].PIN_BCDs[1].group,
					Selector[0].PIN_BCDs[1].pin, (d >> 1) & 0x01);
			HAL_GPIO_WritePin(Selector[0].PIN_BCDs[2].group,
					Selector[0].PIN_BCDs[2].pin, (d >> 2) & 0x01);
			HAL_GPIO_WritePin(Selector[1].PIN_BCDs[0].group,
					Selector[1].PIN_BCDs[0].pin, (d >> 3) & 0x01);
			++idxDisplayIP;
		}
		// at the end of transmission, pause for a while
		else if(idxDisplayIP < lenDisplayIP + 3)
		{
			d = ~(0x0e); // no display
			HAL_GPIO_WritePin(Selector[0].PIN_BCDs[0].group,
					Selector[0].PIN_BCDs[0].pin, d & 0x01);
			HAL_GPIO_WritePin(Selector[0].PIN_BCDs[1].group,
					Selector[0].PIN_BCDs[1].pin, (d >> 1) & 0x01);
			HAL_GPIO_WritePin(Selector[0].PIN_BCDs[2].group,
					Selector[0].PIN_BCDs[2].pin, (d >> 2) & 0x01);
			HAL_GPIO_WritePin(Selector[1].PIN_BCDs[0].group,
					Selector[1].PIN_BCDs[0].pin, (d >> 3) & 0x01);
			++idxDisplayIP;
		}
		else
		{
			idxDisplayIP = -1;
			HAL_TIM_Base_Stop_IT(htim);
		}
	}
}
/* Display IP functions END */
/* USER CODE END 4 */

void Error_Handler(void)
{
}
